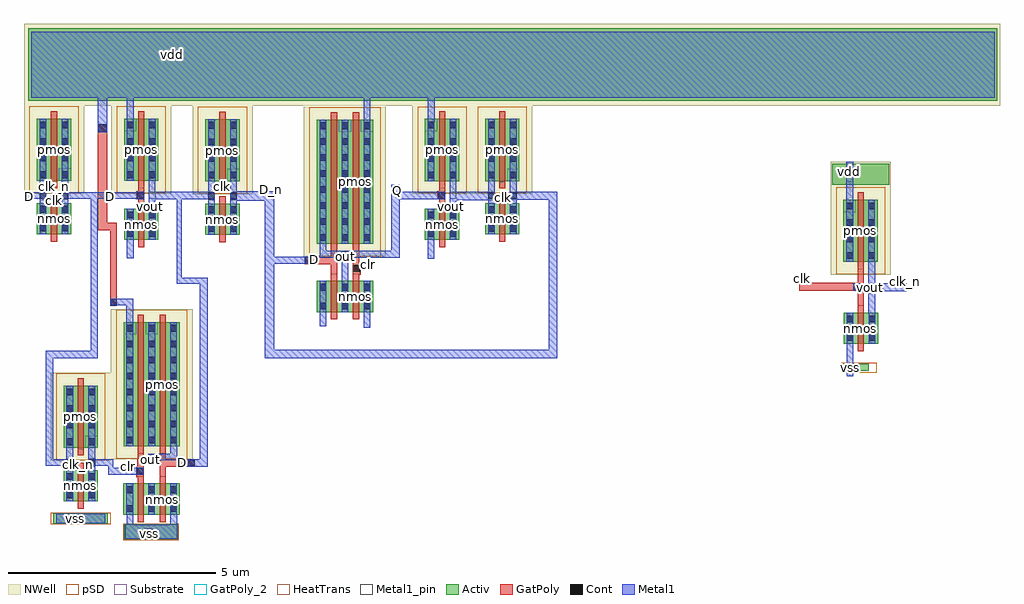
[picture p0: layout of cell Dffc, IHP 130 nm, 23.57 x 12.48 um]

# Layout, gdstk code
from math import pi, radians
import gdstk
lib = gdstk.Library(unit=1e-6, precision=1e-09)
def R(c, l, rs):  # rectangles x0, y0, x1, y1
    for r in rs: c.add(gdstk.rectangle(r[:2], r[2:], *l))
def A(c, l, x, y, w, h, nx, ny, dx, dy):  # array of equal rectangles
    R(c, l, [(x+i*dx, y+j*dy, x+i*dx+w, y+j*dy+h) for i in range(nx) for j in range(ny)])
def P(c, l, *ps):  # polygons
    for p in ps: c.add(gdstk.Polygon(p, *l))
Activ = (1, 0)
GatPoly = (5, 0)
GatPoly_2 = (5, 2)
Cont = (6, 0)
Metal1 = (8, 0)
Metal1_pin = (8, 2)
pSD = (14, 0)
NWell = (31, 0)
Substrate = (40, 0)
HeatTrans = (51, 0)

pmos_1_1 = lib.new_cell('pmos$1$1')

nmos_1_1 = lib.new_cell('nmos$1$1')

nmos_1_3 = lib.new_cell('nmos$1$3')

pmos_1_3 = lib.new_cell('pmos$1$3')

nmos_1_3_1 = lib.new_cell('nmos$1$3$1')

pmos_1_3_1 = lib.new_cell('pmos$1$3$1')

nmos_1_3_1_1 = lib.new_cell('nmos$1$3$1$1')

pmos_1_3_1_1 = lib.new_cell('pmos$1$3$1$1')

nmos_3_1_1 = lib.new_cell('nmos$3$1$1')

pmos_3_1_1 = lib.new_cell('pmos$3$1$1')

nmos_3_1_1_1 = lib.new_cell('nmos$3$1$1$1')

pmos_3_1_1_1 = lib.new_cell('pmos$3$1$1$1')

pmos_3 = lib.new_cell('pmos$3')

nmos_3 = lib.new_cell('nmos$3')

pmos_3_1 = lib.new_cell('pmos$3$1')

nmos_3_1 = lib.new_cell('nmos$3$1')

nmos_1_1_1 = lib.new_cell('nmos$1$1$1')

pmos_1_1_1 = lib.new_cell('pmos$1$1$1')

nmos_1_1_3 = lib.new_cell('nmos$1$1$3')

pmos_1_1_3 = lib.new_cell('pmos$1$1$3')

pmos_1_1_4 = lib.new_cell('pmos$1$1$4')

nmos_1_1_4 = lib.new_cell('nmos$1$1$4')

pmos_1_3_2 = lib.new_cell('pmos$1$3$2')

nmos_1_3_1_2 = lib.new_cell('nmos$1$3$1$2')

pmos_1_3_1_2 = lib.new_cell('pmos$1$3$1$2')

nmos_1_3_1_1_1 = lib.new_cell('nmos$1$3$1$1$1')

pmos_1_3_1_1_1 = lib.new_cell('pmos$1$3$1$1$1')

pmos_3_2 = lib.new_cell('pmos$3$2')

nmos_3_2 = lib.new_cell('nmos$3$2')

pmos_3_1_2 = lib.new_cell('pmos$3$1$2')

nmos_3_1_2 = lib.new_cell('nmos$3$1$2')

nmos_1_1_1_1 = lib.new_cell('nmos$1$1$1$1')

pmos_1_1_1_1 = lib.new_cell('pmos$1$1$1$1')

nmos_1_1_3_1 = lib.new_cell('nmos$1$1$3$1')

pmos_1_1_3_1 = lib.new_cell('pmos$1$1$3$1')

nmos_3_1_1_1_1 = lib.new_cell('nmos$3$1$1$1$1')

pmos_3_1_1_1_1 = lib.new_cell('pmos$3$1$1$1$1')

nmos_1_3_2 = lib.new_cell('nmos$1$3$2')

nmos_3_1_1_2 = lib.new_cell('nmos$3$1$1$2')

pmos_3_1_1_2 = lib.new_cell('pmos$3$1$1$2')

dffc = lib.new_cell('Dffc')
R(dffc, Activ, [(-13.218,0.057,-11.933,0.422), (-14.934,0.438,-13.619,0.693), (-13.241,0.659,-12.411,1.409), (-12.711,0.659,-11.881,1.409), (-14.689,0.978,-14.389,1.278), (-14.689,0.978,-13.859,1.728), (-14.159,0.978,-13.859,1.278), (-13.241,1.109,-12.941,1.409), (-12.711,1.109,-12.411,1.409), (-12.711,1.109,-12.411,1.409), (-12.181,1.109,-11.881,1.409), (-14.689,2.268,-14.389,2.568), (-14.689,2.268,-13.859,3.768), (-14.159,2.268,-13.859,2.568), (-13.239,2.309,-12.409,5.309), (-12.709,2.309,-11.879,5.309), (4.118,4.131,4.753,4.301), (4.153,4.786,4.983,5.536), (-13.239,5.009,-12.939,5.309), (-12.709,5.009,-12.409,5.309), (-12.709,5.009,-12.409,5.309), (-12.179,5.009,-11.879,5.309), (4.153,5.236,4.453,5.536), (4.683,5.236,4.983,5.536), (-8.571,5.55,-7.741,6.3), (-8.041,5.55,-7.211,6.3), (-8.571,6,-8.271,6.3), (-8.041,6,-7.741,6.3), (-8.041,6,-7.741,6.3), (-7.511,6,-7.211,6.3), (4.148,6.761,4.978,8.261), (-8.573,7.2,-7.743,10.2), (-8.043,7.2,-7.213,10.2), (-5.96,7.294,-5.13,8.044), (-13.228,7.296,-12.398,8.046), (-11.264,7.42,-10.964,7.72), (-11.264,7.42,-10.434,8.17), (-10.734,7.42,-10.434,7.72), (-4.507,7.424,-4.207,7.724), (-4.507,7.424,-3.677,8.174), (-3.977,7.424,-3.677,7.724), (-15.332,7.433,-15.032,7.733), (-15.332,7.433,-14.502,8.183), (-14.802,7.433,-14.502,7.733), (-5.96,7.744,-5.66,8.044), (-5.43,7.744,-5.13,8.044), (-13.228,7.746,-12.928,8.046), (-12.698,7.746,-12.398,8.046), (4.148,7.961,4.448,8.261), (4.678,7.961,4.978,8.261), (3.873,8.626,5.258,9.131), (-11.264,8.71,-10.964,9.01), (-11.264,8.71,-10.434,10.21), (-10.734,8.71,-10.434,9.01), (-5.96,8.714,-5.13,10.214), (-4.507,8.714,-4.207,9.014), (-4.507,8.714,-3.677,10.214), (-3.977,8.714,-3.677,9.014), (-13.228,8.716,-12.398,10.216), (-15.334,8.717,-15.034,9.017), (-15.334,8.717,-14.504,10.217), (-14.804,8.717,-14.504,9.017), (-8.573,9.9,-8.273,10.2), (-8.043,9.9,-7.743,10.2), (-8.043,9.9,-7.743,10.2), (-7.513,9.9,-7.213,10.2), (-5.96,9.914,-5.66,10.214), (-5.43,9.914,-5.13,10.214), (-13.228,9.916,-12.928,10.216), (-12.698,9.916,-12.398,10.216), (-15.537,10.655,7.86,12.401)])
R(dffc, GatPoly, [(-12.901,0.479,-12.751,1.589), (-12.371,0.479,-12.221,1.589), (-14.349,0.798,-14.199,1.908), (-14.349,2.088,-14.199,3.948), (-14.349,2.088,-14.199,3.948), (-12.899,2.129,-12.749,5.489), (-12.899,2.129,-12.749,5.489), (-12.369,2.129,-12.219,5.489), (-12.369,2.129,-12.219,5.489), (4.493,4.606,4.643,5.716), (-8.231,5.37,-8.081,6.48), (-7.701,5.37,-7.551,6.48), (4.488,6.581,4.638,8.441), (4.488,6.581,4.638,8.441), (-8.233,7.02,-8.083,10.38), (-8.233,7.02,-8.083,10.38), (-7.703,7.02,-7.553,10.38), (-7.703,7.02,-7.553,10.38), (-5.62,7.114,-5.47,8.165), (-12.888,7.116,-12.738,8.167), (-10.924,7.24,-10.774,8.35), (-4.167,7.244,-4.017,8.354), (-14.992,7.253,-14.842,8.363), (-10.924,8.53,-10.774,10.39), (-10.924,8.53,-10.774,10.39), (-5.62,8.534,-5.47,10.394), (-5.62,8.534,-5.47,10.394), (-4.167,8.534,-4.017,10.394), (-4.167,8.534,-4.017,10.394), (-12.888,8.536,-12.738,10.396), (-12.888,8.536,-12.738,10.396), (-14.994,8.537,-14.844,10.397), (-14.994,8.537,-14.844,10.397)])
P(dffc, GatPoly, [(4.488,5.691),(4.488,6.068),(3.074,6.068),(3.074,6.258),(4.488,6.258),(4.488,6.581),(4.638,6.581),(4.638,5.691)],
  [(-12.888,8.13),(-12.888,8.273),(-12.934,8.273),(-12.934,8.464),(-12.888,8.464),(-12.888,8.536),(-12.738,8.536),(-12.738,8.13)],
  [(-8.232,6.468),(-8.232,6.7),(-8.869,6.7),(-8.869,6.89),(-8.233,6.89),(-8.233,7.02),(-8.083,7.02),(-8.083,6.718),(-8.082,6.718),(-8.082,6.468)],
  [(-5.62,8.128),(-5.62,8.271),(-5.666,8.271),(-5.666,8.462),(-5.62,8.462),(-5.62,8.534),(-5.47,8.534),(-5.47,8.128)],
  [(-12.37,1.577),(-12.37,1.827),(-12.369,1.827),(-12.369,2.129),(-12.219,2.129),(-12.219,1.999),(-11.515,1.999),(-11.515,1.809),(-12.22,1.809),(-12.22,1.577)],
  [(-13.565,5.707),(-13.565,7.524),(-13.864,7.524),(-13.864,10.09),(-13.634,10.09),(-13.634,7.701),(-13.405,7.701),(-13.405,5.707)],
  [(-7.702,6.455),(-7.702,6.475),(-7.703,6.475),(-7.703,7.02),(-7.553,7.02),(-7.553,6.89),(-7.548,6.89),(-7.548,6.703),(-7.513,6.703),(-7.513,6.455)],
  [(-12.939,1.564),(-12.939,1.812),(-12.904,1.812),(-12.904,1.999),(-12.899,1.999),(-12.899,2.129),(-12.749,2.129),(-12.749,1.584),(-12.75,1.584),(-12.75,1.564)])
R(dffc, GatPoly_2, [(-12.901,0.479,-12.751,1.589), (-12.371,0.479,-12.221,1.589), (-14.349,0.798,-14.199,1.908), (-12.934,1.584,-12.753,1.807), (-14.349,1.758,-14.199,1.903), (-11.685,1.828,-11.525,1.988), (-14.349,2.088,-14.199,2.253), (4.493,4.606,4.643,5.716), (-8.231,5.37,-8.081,6.48), (-7.701,5.37,-7.551,6.48), (-7.699,6.475,-7.518,6.698), (-8.865,6.719,-8.705,6.879), (-5.62,7.114,-5.47,8.165), (-12.888,7.116,-12.738,8.167), (-10.924,7.24,-10.774,8.35), (-4.167,7.244,-4.017,8.354), (-14.992,7.253,-14.842,8.363), (-10.924,8.2,-10.774,8.345), (-4.167,8.204,-4.017,8.349), (-14.994,8.207,-14.844,8.352), (-10.924,8.53,-10.774,8.695), (-4.167,8.534,-4.017,8.699), (-14.994,8.537,-14.844,8.702)])
A(dffc, Cont, -14.619, 2.338, 0.16, 0.16, 1, 4, 0, 0.4)
A(dffc, Cont, -14.089, 2.338, 0.16, 0.16, 1, 4, 0, 0.4)
A(dffc, Cont, -13.169, 2.769, 0.16, 0.16, 1, 7, 0, 0.385)
A(dffc, Cont, -12.109, 2.769, 0.16, 0.16, 1, 7, 0, 0.385)
A(dffc, Cont, 4.218, 6.831, 0.16, 0.16, 1, 4, 0, 0.4)
A(dffc, Cont, 4.748, 6.831, 0.16, 0.16, 1, 4, 0, 0.4)
A(dffc, Cont, -8.503, 7.66, 0.16, 0.16, 1, 7, 0, 0.385)
A(dffc, Cont, -7.443, 7.66, 0.16, 0.16, 1, 7, 0, 0.385)
A(dffc, Cont, -11.194, 8.78, 0.16, 0.16, 1, 4, 0, 0.4)
A(dffc, Cont, -10.664, 8.78, 0.16, 0.16, 1, 4, 0, 0.4)
A(dffc, Cont, -5.89, 8.784, 0.16, 0.16, 1, 4, 0, 0.4)
A(dffc, Cont, -5.36, 8.784, 0.16, 0.16, 1, 4, 0, 0.4)
A(dffc, Cont, -4.437, 8.784, 0.16, 0.16, 1, 4, 0, 0.4)
A(dffc, Cont, -3.907, 8.784, 0.16, 0.16, 1, 4, 0, 0.4)
A(dffc, Cont, -13.158, 8.786, 0.16, 0.16, 1, 4, 0, 0.4)
A(dffc, Cont, -12.628, 8.786, 0.16, 0.16, 1, 4, 0, 0.4)
A(dffc, Cont, -15.264, 8.787, 0.16, 0.16, 1, 4, 0, 0.4)
A(dffc, Cont, -14.734, 8.787, 0.16, 0.16, 1, 4, 0, 0.4)
R(dffc, Cont, [(-12.733,0.117,-12.523,0.322), (-14.489,0.483,-14.324,0.643), (-13.171,0.729,-13.011,0.889), (-12.641,0.729,-12.481,0.889), (-12.641,0.729,-12.481,0.889), (-12.111,0.729,-11.951,0.889), (-14.619,1.048,-14.459,1.208), (-14.089,1.048,-13.929,1.208), (-13.171,1.179,-13.011,1.339), (-12.641,1.179,-12.481,1.339), (-12.641,1.179,-12.481,1.339), (-12.111,1.179,-11.951,1.339), (-14.619,1.498,-14.459,1.658), (-14.089,1.498,-13.929,1.658), (-12.925,1.627,-12.765,1.787), (-11.684,1.829,-11.524,1.989), (-14.619,1.838,-14.459,1.998), (-14.089,1.838,-13.929,1.998), (-12.639,1.969,-12.479,2.129), (-13.169,2.379,-13.009,2.539), (-12.639,2.379,-12.479,2.539), (-12.639,2.379,-12.479,2.539), (-12.109,2.379,-11.949,2.539), (-12.639,2.769,-12.479,2.929), (-12.639,2.769,-12.479,2.929), (-12.639,3.154,-12.479,3.314), (-12.639,3.154,-12.479,3.314), (-12.639,3.539,-12.479,3.699), (-12.639,3.539,-12.479,3.699), (-12.639,3.924,-12.479,4.084), (-12.639,3.924,-12.479,4.084), (4.228,4.131,4.388,4.291), (-12.639,4.309,-12.479,4.469), (-12.639,4.309,-12.479,4.469), (-12.639,4.694,-12.479,4.854), (-12.639,4.694,-12.479,4.854), (4.223,4.856,4.383,5.016), (4.753,4.856,4.913,5.016), (-12.639,5.079,-12.479,5.239), (-12.639,5.079,-12.479,5.239), (4.223,5.306,4.383,5.466), (4.753,5.306,4.913,5.466), (-8.501,5.62,-8.341,5.78), (-7.971,5.62,-7.811,5.78), (-7.971,5.62,-7.811,5.78), (-7.441,5.62,-7.281,5.78), (-13.565,5.707,-13.405,5.872), (-8.501,6.07,-8.341,6.23), (-7.971,6.07,-7.811,6.23), (-7.971,6.07,-7.811,6.23), (-7.441,6.07,-7.281,6.23), (4.388,6.076,4.548,6.236), (-7.687,6.518,-7.527,6.678), (-8.864,6.718,-8.704,6.878), (-7.973,6.86,-7.813,7.02), (-8.503,7.27,-8.343,7.43), (-7.973,7.27,-7.813,7.43), (-7.973,7.27,-7.813,7.43), (-7.443,7.27,-7.283,7.43), (-5.89,7.364,-5.73,7.524), (-5.36,7.364,-5.2,7.524), (-13.158,7.366,-12.998,7.526), (-12.628,7.366,-12.468,7.526), (-11.194,7.49,-11.034,7.65), (-10.664,7.49,-10.504,7.65), (-4.437,7.494,-4.277,7.654), (-3.907,7.494,-3.747,7.654), (-15.262,7.503,-15.102,7.663), (-14.732,7.503,-14.572,7.663), (-7.973,7.66,-7.813,7.82), (-7.973,7.66,-7.813,7.82), (-5.89,7.814,-5.73,7.974), (-5.36,7.814,-5.2,7.974), (-13.158,7.816,-12.998,7.976), (-12.628,7.816,-12.468,7.976), (-11.194,7.94,-11.034,8.1), (-10.664,7.94,-10.504,8.1), (-4.437,7.944,-4.277,8.104), (-3.907,7.944,-3.747,8.104), (-15.262,7.953,-15.102,8.113), (-14.732,7.953,-14.572,8.113), (-7.973,8.045,-7.813,8.205), (-7.973,8.045,-7.813,8.205), (-11.194,8.28,-11.034,8.44), (-10.664,8.28,-10.504,8.44), (-4.437,8.284,-4.277,8.444), (-3.907,8.284,-3.747,8.444), (-15.264,8.287,-15.104,8.447), (-14.734,8.287,-14.574,8.447), (-5.641,8.287,-5.481,8.447), (-12.909,8.289,-12.749,8.449), (-7.973,8.43,-7.813,8.59), (-7.973,8.43,-7.813,8.59), (4.218,8.806,4.378,8.966), (-7.973,8.815,-7.813,8.975), (-7.973,8.815,-7.813,8.975), (-7.973,9.2,-7.813,9.36), (-7.973,9.2,-7.813,9.36), (-7.973,9.585,-7.813,9.745), (-7.973,9.585,-7.813,9.745), (-13.864,9.896,-13.634,10.09), (-7.973,9.97,-7.813,10.13), (-7.973,9.97,-7.813,10.13), (-12.133,11.696,-11.973,11.856)])
R(dffc, Metal1, [(-14.869,0.453,-13.679,0.673), (-13.171,0.659,-13.011,1.409), (-12.641,0.659,-12.481,1.409), (-12.641,0.659,-12.481,1.409), (-12.111,0.659,-11.951,1.409), (-14.089,0.978,-13.929,1.728), (-14.089,2.268,-13.929,3.768), (-14.089,2.268,-13.929,3.768), (-12.639,2.309,-12.479,5.309), (-12.639,2.309,-12.479,5.309), (-12.639,2.309,-12.479,5.309), (-12.639,2.309,-12.479,5.309), (4.223,3.996,4.383,4.786), (4.223,4.786,4.383,5.536), (4.753,4.786,4.913,5.536), (-7.441,5.169,-7.281,6.3), (-8.501,5.208,-8.341,6.3), (4.383,6.071,4.553,6.241), (4.218,6.761,4.378,8.261), (4.218,6.761,4.378,8.261), (4.748,6.761,4.908,8.261), (4.748,6.761,4.908,8.261), (-5.89,6.843,-5.73,7.294), (-13.158,6.845,-12.998,7.296), (-7.973,7.2,-7.813,10.2), (-7.973,7.2,-7.813,10.2), (-7.973,7.2,-7.813,10.2), (-7.973,7.2,-7.813,10.2), (-5.89,7.294,-5.73,8.044), (-13.158,7.296,-12.998,8.046), (-12.628,7.296,-12.468,8.046), (-11.194,7.42,-11.034,8.17), (-10.664,7.42,-10.504,8.17), (-4.437,7.424,-4.277,8.174), (-3.907,7.424,-3.747,8.174), (-15.262,7.433,-15.102,8.183), (-14.732,7.433,-14.572,8.183), (4.218,8.261,4.378,9.176), (-11.194,8.71,-11.034,10.21), (-11.194,8.71,-11.034,10.21), (-10.664,8.71,-10.504,10.21), (-10.664,8.71,-10.504,10.21), (-5.89,8.714,-5.73,10.214), (-5.89,8.714,-5.73,10.214), (-4.437,8.714,-4.277,10.214), (-4.437,8.714,-4.277,10.214), (-3.907,8.714,-3.747,10.214), (-3.907,8.714,-3.747,10.214), (-13.158,8.716,-12.998,10.216), (-13.158,8.716,-12.998,10.216), (-12.628,8.716,-12.468,10.216), (-12.628,8.716,-12.468,10.216), (-15.264,8.717,-15.104,10.217), (-15.264,8.717,-15.104,10.217), (-14.734,8.717,-14.574,10.217), (-14.734,8.717,-14.574,10.217)])
P(dffc, Metal1, [(4.748,5.511),(4.748,6.761),(4.913,6.761),(4.913,6.251),(5.674,6.251),(5.674,6.049),(4.913,6.049),(4.913,5.511)],
  [(-15.264,8.123),(-15.264,8.287),(-15.589,8.287),(-15.589,8.446),(-15.264,8.446),(-15.264,8.805),(-15.102,8.805),(-15.102,8.123)],
  [(-7.443,7.2),(-7.443,10.73),(-12.998,10.73),(-12.998,10.216),(-13.158,10.216),(-13.158,10.73),(-13.634,10.73),(-13.634,9.896),(-13.864,9.896),(-13.864,10.73),(-15.469,10.73),(-15.469,12.323),(7.8,12.323),(7.8,10.73),(-5.729,10.73),(-5.729,10.151),(-5.889,10.151),(-5.889,10.73),(-7.283,10.73),(-7.283,7.2)],
  [(-14.619,0.978),(-14.619,1.835),(-15.117,1.835),(-15.117,1.999),(-15.117,4.433),(-15.117,4.614),(-14.029,4.614),(-14.029,8.286),(-14.572,8.286),(-14.572,8.016),(-14.734,8.016),(-14.734,8.762),(-14.572,8.762),(-14.572,8.448),(-12.923,8.448),(-12.923,8.456),(-12.744,8.456),(-12.744,8.277),(-12.923,8.277),(-12.923,8.286),(-13.864,8.286),(-13.864,4.433),(-14.942,4.433),(-14.942,1.999),(-14.619,1.999),(-14.619,3.768),(-14.459,3.768),(-14.459,0.978)],
  [(-9.824,4.43),(-9.824,8.243),(-10.504,8.243),(-10.504,8.107),(-10.664,8.107),(-10.664,8.724),(-10.504,8.724),(-10.504,8.468),(-9.606,8.468),(-9.606,6.883),(-8.699,6.883),(-8.699,6.714),(-9.606,6.714),(-9.606,4.635),(-2.969,4.635),(-2.969,8.259),(-3.747,8.259),(-3.747,8.075),(-3.907,8.075),(-3.907,8.825),(-3.747,8.825),(-3.747,8.45),(-2.771,8.45),(-2.771,5.092),(-2.771,4.635),(-2.771,4.43)],
  [(-11.692,1.81),(-11.692,1.999),(-11.397,1.999),(-11.397,6.237),(-11.958,6.237),(-11.958,8.276),(-12.469,8.276),(-12.469,7.961),(-12.629,7.961),(-12.629,8.794),(-12.469,8.794),(-12.469,8.461),(-11.194,8.461),(-11.194,8.738),(-11.034,8.738),(-11.034,8.139),(-11.194,8.139),(-11.194,8.276),(-11.831,8.276),(-11.831,6.378),(-11.21,6.378),(-11.21,1.81)],
  [(-7.971,5.55),(-7.971,6.2),(-7.973,6.2),(-7.973,6.86),(-8.503,6.86),(-8.503,10.2),(-8.343,10.2),(-8.343,7.026),(-6.771,7.026),(-6.771,8.624),(-6.57,8.624),(-6.57,8.456),(-5.475,8.456),(-5.475,8.278),(-6.57,8.278),(-6.57,7.026),(-6.57,6.86),(-7.811,6.86),(-7.811,5.55)],
  [(-5.36,7.294),(-5.36,10.214),(-5.2,10.214),(-5.2,8.453),(-4.437,8.453),(-4.437,8.737),(-4.277,8.737),(-4.277,8.05),(-4.437,8.05),(-4.437,8.249),(-5.2,8.249),(-5.2,7.294)],
  [(-12.639,1.969),(-12.639,2.129),(-12.109,2.129),(-12.109,5.309),(-11.949,5.309),(-11.949,2.309),(-11.946,2.309),(-11.946,1.969)],
  [(-13.17,2.309),(-13.17,5.708),(-13.565,5.708),(-13.565,5.872),(-13.01,5.872),(-13.01,2.309)],
  [(-13.607,1.618),(-13.607,1.839),(-13.929,1.839),(-13.929,1.713),(-14.089,1.713),(-14.089,2.283),(-13.929,2.283),(-13.929,1.998),(-13.484,1.998),(-13.484,1.788),(-12.764,1.788),(-12.764,1.618)],
  [(-13.198,0.072),(-13.198,0.407),(-13.168,0.407),(-13.168,0.672),(-13.008,0.672),(-13.008,0.407),(-12.108,0.407),(-12.108,0.672),(-11.948,0.672),(-11.948,0.072)],
  [(-13.158,7.296),(-13.158,7.296),(-12.998,7.296),(-12.998,7.296)],
  [(4.223,4.786),(4.223,4.786),(4.383,4.786),(4.383,4.786)],
  [(-5.89,7.294),(-5.89,7.294),(-5.73,7.294),(-5.73,7.294)])
R(dffc, Metal1_pin, [(-12.733,0.117,-12.523,0.322), (-14.489,0.483,-14.324,0.643), (-13.171,0.659,-13.011,1.409), (-12.641,0.659,-12.481,1.409), (-12.641,0.659,-12.481,1.409), (-12.111,0.659,-11.951,1.409), (-14.619,0.978,-14.459,1.728), (-14.089,0.978,-13.929,1.728), (-14.619,1.803,-14.459,2.013), (-14.089,1.813,-13.929,2.013), (-12.639,1.969,-12.479,2.129), (4.223,4.126,4.383,4.301), (4.223,4.786,4.383,5.536), (4.753,4.786,4.913,5.536), (-8.501,5.55,-8.341,6.3), (-7.971,5.55,-7.811,6.3), (-7.971,5.55,-7.811,6.3), (-7.441,5.55,-7.281,6.3), (4.748,5.996,4.913,6.251), (-7.973,6.86,-7.813,7.02), (-5.89,7.294,-5.73,8.044), (-5.36,7.294,-5.2,8.044), (-13.158,7.296,-12.998,8.046), (-12.628,7.296,-12.468,8.046), (-11.194,7.42,-11.034,8.17), (-10.664,7.42,-10.504,8.17), (-4.437,7.424,-4.277,8.174), (-3.907,7.424,-3.747,8.174), (-15.262,7.433,-15.102,8.183), (-14.732,7.433,-14.572,8.183), (-11.194,8.245,-11.034,8.455), (-4.437,8.249,-4.277,8.459), (-15.264,8.252,-15.104,8.462), (-10.664,8.255,-10.504,8.455), (-3.907,8.259,-3.747,8.459), (-14.734,8.262,-14.574,8.462), (-5.359,8.282,-5.199,8.453), (-12.627,8.284,-12.467,8.455), (4.218,8.691,4.378,9.096), (-12.149,11.682,-11.96,11.864)])
R(dffc, pSD, [(-13.243,0.037,-11.908,0.442), (-14.999,0.423,-13.549,0.703), (-14.869,1.968,-13.679,4.068), (-13.419,2.009,-12.229,5.609), (-12.889,2.009,-11.699,5.609), (4.093,4.081,4.953,4.326), (3.968,6.461,5.158,8.561), (-8.753,6.9,-7.563,10.5), (-8.223,6.9,-7.033,10.5), (-11.444,8.41,-10.254,10.51), (-6.14,8.414,-4.95,10.514), (-4.687,8.414,-3.497,10.514), (-13.408,8.416,-12.218,10.516), (-15.514,8.417,-14.324,10.517)])
R(dffc, NWell, [(-14.999,1.958,-13.549,4.078), (-13.549,1.999,-12.099,5.619), (-13.019,1.999,-11.569,5.619), (3.838,6.451,5.288,8.571), (-8.883,6.89,-7.433,10.51), (-8.353,6.89,-6.903,10.51), (-11.574,8.4,-10.124,10.52), (-6.27,8.404,-4.82,10.524), (-4.817,8.404,-3.367,10.524), (-13.538,8.406,-12.088,10.526), (-15.644,8.407,-14.194,10.527), (3.838,8.571,5.288,9.181), (-15.644,10.528,7.928,12.514)])
R(dffc, Substrate, [(-14.159,2.268,-13.859,2.568), (-13.239,5.009,-12.939,5.309), (-12.709,5.009,-12.409,5.309), (4.148,7.961,4.448,8.261), (-10.734,8.71,-10.434,9.01), (-3.977,8.714,-3.677,9.014), (-14.804,8.717,-14.504,9.017), (-8.043,9.9,-7.743,10.2), (-7.513,9.9,-7.213,10.2), (-5.96,9.914,-5.66,10.214), (-13.228,9.916,-12.928,10.216)])
R(dffc, HeatTrans, [(-12.901,0.479,-12.751,1.589), (-12.371,0.479,-12.221,1.589), (-14.349,0.798,-14.199,1.908), (-14.349,2.088,-14.199,3.948), (-12.899,2.129,-12.749,5.489), (-12.369,2.129,-12.219,5.489), (4.493,4.606,4.643,5.716), (-8.231,5.37,-8.081,6.48), (-7.701,5.37,-7.551,6.48), (4.488,6.581,4.638,8.441), (-8.233,7.02,-8.083,10.38), (-7.703,7.02,-7.553,10.38), (-5.62,7.114,-5.47,8.165), (-12.888,7.116,-12.738,8.167), (-10.924,7.24,-10.774,8.35), (-4.167,7.244,-4.017,8.354), (-14.992,7.253,-14.842,8.363), (-10.924,8.53,-10.774,10.39), (-5.62,8.534,-5.47,10.394), (-4.167,8.534,-4.017,10.394), (-12.888,8.536,-12.738,10.396), (-14.994,8.537,-14.844,10.397)])
dffc.add(gdstk.Reference(pmos_1_1, (-2.821,1.304), rotation=pi))
dffc.add(gdstk.Reference(nmos_1_1, (-2.821,-2.376), rotation=pi))
dffc.add(gdstk.Reference(pmos_1_1, (-3.351,1.304), rotation=pi))
dffc.add(gdstk.Reference(nmos_1_3, (-3.889,4.557), rotation=pi))
dffc.add(gdstk.Reference(pmos_1_3, (-3.894,7.282), rotation=pi))
dffc.add(gdstk.Reference(nmos_1_3_1, (4.626,4.726), rotation=pi))
dffc.add(gdstk.Reference(pmos_1_3_1, (4.621,7.451), rotation=pi))
dffc.add(gdstk.Reference(nmos_1_3_1_1, (-12.111,-1.561), rotation=pi))
dffc.add(gdstk.Reference(pmos_1_3_1_1, (-12.116,1.164), rotation=pi))
dffc.add(gdstk.Reference(nmos_3_1_1, (1.334,17.519)))
dffc.add(gdstk.Reference(pmos_3_1_1, (1.334,18.809)))
dffc.add(gdstk.Reference(nmos_3_1_1_1, (-7.646,4.282)))
dffc.add(gdstk.Reference(pmos_3_1_1_1, (-7.646,5.572)))
dffc.add(gdstk.Reference(pmos_3, (-1.103,5.555)))
dffc.add(gdstk.Reference(nmos_3, (-1.103,4.265)))
dffc.add(gdstk.Reference(nmos_1_1, (-3.351,-2.376), rotation=pi))
dffc.add(gdstk.Reference(pmos_3_1, (1.169,13.163)))
dffc.add(gdstk.Reference(nmos_3_1, (1.169,11.873)))
dffc.add(gdstk.Reference(nmos_1_1_1, (0.714,4.402), x_reflection=True))
dffc.add(gdstk.Reference(pmos_1_1_1, (0.714,8.082), x_reflection=True))
dffc.add(gdstk.Reference(nmos_1_1_3, (1.998,4.913), x_reflection=True))
dffc.add(gdstk.Reference(pmos_1_1_3, (1.998,8.593), x_reflection=True))
dffc.add(gdstk.Reference(nmos_1_1_3, (1.468,4.913), x_reflection=True))
dffc.add(gdstk.Reference(pmos_1_1_3, (1.468,8.593), x_reflection=True))
dffc.add(gdstk.Reference(pmos_1_1_4, (65.752,41.214), rotation=pi))
dffc.add(gdstk.Reference(nmos_1_1_4, (65.752,37.534), rotation=pi))
dffc.add(gdstk.Reference(pmos_1_1_4, (65.222,41.214), rotation=pi))
dffc.add(gdstk.Reference(pmos_1_3_2, (64.684,47.192), rotation=pi))
dffc.add(gdstk.Reference(nmos_1_3_1_2, (73.199,44.636), rotation=pi))
dffc.add(gdstk.Reference(pmos_1_3_1_2, (73.194,47.361), rotation=pi))
dffc.add(gdstk.Reference(nmos_1_3_1_1_1, (56.462,38.349), rotation=pi))
dffc.add(gdstk.Reference(pmos_1_3_1_1_1, (56.457,41.074), rotation=pi))
dffc.add(gdstk.Reference(pmos_3_2, (67.47,45.465)))
dffc.add(gdstk.Reference(nmos_3_2, (67.47,44.175)))
dffc.add(gdstk.Reference(nmos_1_1_4, (65.222,37.534), rotation=pi))
dffc.add(gdstk.Reference(pmos_3_1_2, (69.742,53.073)))
dffc.add(gdstk.Reference(nmos_3_1_2, (69.742,51.783)))
dffc.add(gdstk.Reference(nmos_1_1_1_1, (69.287,44.312), x_reflection=True))
dffc.add(gdstk.Reference(pmos_1_1_1_1, (69.287,47.992), x_reflection=True))
dffc.add(gdstk.Reference(nmos_1_1_3_1, (70.571,44.823), x_reflection=True))
dffc.add(gdstk.Reference(pmos_1_1_3_1, (70.571,48.503), x_reflection=True))
dffc.add(gdstk.Reference(nmos_1_1_3_1, (70.041,44.823), x_reflection=True))
dffc.add(gdstk.Reference(pmos_1_1_3_1, (70.041,48.503), x_reflection=True))
dffc.add(gdstk.Reference(nmos_3_1_1_1_1, (60.924,44.198)))
dffc.add(gdstk.Reference(pmos_3_1_1_1_1, (60.922,45.482)))
dffc.add(gdstk.Reference(nmos_1_3_2, (64.684,44.467), rotation=pi))
dffc.add(gdstk.Reference(nmos_3_1_1_2, (69.907,57.429)))
dffc.add(gdstk.Reference(pmos_3_1_1_2, (69.907,58.719)))
dffc.add(gdstk.Label('pmos', (-12.813,9.466), layer=63, texttype=0))
dffc.add(gdstk.Label('pmos', (4.563,7.511), layer=63, texttype=0))
dffc.add(gdstk.Label('pmos', (-10.849,9.46), layer=63, texttype=0))
dffc.add(gdstk.Label('pmos', (-14.919,9.467), layer=63, texttype=0))
dffc.add(gdstk.Label('nmos', (4.568,5.161), layer=63, texttype=0))
dffc.add(gdstk.Label('clk', (-10.858,8.574), layer=63, texttype=0))
dffc.add(gdstk.Label('clk_n', (-10.896,8.339), layer=63, texttype=0))
dffc.add(gdstk.Label('clk', (-4.067,8.327), layer=63, texttype=0))
dffc.add(gdstk.Label('clk_n', (-4.087,8.57), layer=63, texttype=0))
dffc.add(gdstk.Label('clk_n', (-14.319,1.866), layer=63, texttype=0))
dffc.add(gdstk.Label('clk', (-14.308,2.142), layer=63, texttype=0))
dffc.add(gdstk.Label('nmos', (-12.813,7.671), layer=63, texttype=0))
dffc.add(gdstk.Label('clk', (3.148,6.355), layer=63, texttype=0))
dffc.add(gdstk.Label('clk_n', (5.634,6.285), layer=63, texttype=0))
dffc.add(gdstk.Label('D_n', (-9.664,8.5), layer=63, texttype=0))
dffc.add(gdstk.Label('clk_n', (-14.916,8.59), layer=63, texttype=0))
dffc.add(gdstk.Label('clk', (-14.906,8.232), layer=63, texttype=0))
dffc.add(gdstk.Label('D', (-13.563,8.33), layer=63, texttype=0))
dffc.add(gdstk.Label('D', (-15.506,8.332), layer=63, texttype=0))
dffc.add(gdstk.Label('clr', (-7.321,6.706), layer=63, texttype=0))
dffc.add(gdstk.Label('nmos', (-7.626,5.925), layer=63, texttype=0))
dffc.add(gdstk.Label('nmos', (-8.156,5.925), layer=63, texttype=0))
dffc.add(gdstk.Label('clr', (-13.131,1.815), layer=63, texttype=0))
dffc.add(gdstk.Label('pmos', (-7.628,8.7), layer=63, texttype=0))
dffc.add(gdstk.Label('pmos', (-8.158,8.7), layer=63, texttype=0))
dffc.add(gdstk.Label('Q', (-6.621,8.493), layer=63, texttype=0))
dffc.add(gdstk.Label('nmos', (-5.545,7.669), layer=63, texttype=0))
dffc.add(gdstk.Label('pmos', (-5.545,9.464), layer=63, texttype=0))
dffc.add(gdstk.Label('pmos', (-12.294,3.809), layer=63, texttype=0))
dffc.add(gdstk.Label('pmos', (-12.824,3.809), layer=63, texttype=0))
dffc.add(gdstk.Label('pmos', (-14.274,3.018), layer=63, texttype=0))
dffc.add(gdstk.Label('nmos', (-14.274,1.353), layer=63, texttype=0))
dffc.add(gdstk.Label('nmos', (-12.296,1.034), layer=63, texttype=0))
dffc.add(gdstk.Label('nmos', (-12.826,1.034), layer=63, texttype=0))
dffc.add(gdstk.Label('nmos', (-10.849,7.795), layer=63, texttype=0))
dffc.add(gdstk.Label('nmos', (-14.917,7.808), layer=63, texttype=0))
dffc.add(gdstk.Label('pmos', (-4.092,9.464), layer=63, texttype=0))
dffc.add(gdstk.Label('nmos', (-4.092,7.799), layer=63, texttype=0))
dffc.add(gdstk.Label('pmos', (-14.919,9.467), layer=51, texttype=0))
dffc.add(gdstk.Label('nmos', (-10.849,7.795), layer=51, texttype=0))
dffc.add(gdstk.Label('nmos', (-12.813,7.671), layer=51, texttype=0))
dffc.add(gdstk.Label('pmos', (-4.092,9.464), layer=51, texttype=0))
dffc.add(gdstk.Label('nmos', (-4.092,7.799), layer=51, texttype=0))
dffc.add(gdstk.Label('pmos', (-12.294,3.809), layer=51, texttype=0))
dffc.add(gdstk.Label('pmos', (-12.824,3.809), layer=51, texttype=0))
dffc.add(gdstk.Label('pmos', (-14.274,3.018), layer=51, texttype=0))
dffc.add(gdstk.Label('nmos', (-12.296,1.034), layer=51, texttype=0))
dffc.add(gdstk.Label('nmos', (-7.626,5.925), layer=51, texttype=0))
dffc.add(gdstk.Label('nmos', (-8.156,5.925), layer=51, texttype=0))
dffc.add(gdstk.Label('pmos', (-7.628,8.7), layer=51, texttype=0))
dffc.add(gdstk.Label('pmos', (-8.158,8.7), layer=51, texttype=0))
dffc.add(gdstk.Label('pmos', (-5.545,9.464), layer=51, texttype=0))
dffc.add(gdstk.Label('nmos', (-5.545,7.669), layer=51, texttype=0))
dffc.add(gdstk.Label('nmos', (-12.826,1.034), layer=51, texttype=0))
dffc.add(gdstk.Label('nmos', (-14.274,1.353), layer=51, texttype=0))
dffc.add(gdstk.Label('nmos', (4.568,5.161), layer=51, texttype=0))
dffc.add(gdstk.Label('nmos', (-14.917,7.808), layer=51, texttype=0))
dffc.add(gdstk.Label('pmos', (-12.813,9.466), layer=51, texttype=0))
dffc.add(gdstk.Label('pmos', (4.563,7.511), layer=51, texttype=0))
dffc.add(gdstk.Label('pmos', (-10.849,9.46), layer=51, texttype=0))
dffc.add(gdstk.Label('vout', (4.798,6.131), layer=8, texttype=2))
dffc.add(gdstk.Label('vss', (4.328,4.206), layer=8, texttype=2))
dffc.add(gdstk.Label('vdd', (4.303,8.941), layer=8, texttype=2))
dffc.add(gdstk.Label('vin', (-11.124,8.335), layer=8, texttype=2))
dffc.add(gdstk.Label('vout', (-10.594,8.35), layer=8, texttype=2))
dffc.add(gdstk.Label('vdd', (-12.06,11.776), layer=8, texttype=2))
dffc.add(gdstk.Label('vin', (-15.194,8.342), layer=8, texttype=2))
dffc.add(gdstk.Label('vout', (-14.664,8.357), layer=8, texttype=2))
dffc.add(gdstk.Label('vout', (-12.585,8.097), layer=8, texttype=2))
dffc.add(gdstk.Label('out', (-7.873,6.89), layer=8, texttype=2))
dffc.add(gdstk.Label('vout', (-5.317,8.095), layer=8, texttype=2))
dffc.add(gdstk.Label('vin', (-4.367,8.339), layer=8, texttype=2))
dffc.add(gdstk.Label('vout', (-3.837,8.354), layer=8, texttype=2))
dffc.add(gdstk.Label('vss', (-12.613,0.192), layer=8, texttype=2))
dffc.add(gdstk.Label('out', (-12.579,1.999), layer=8, texttype=2))
dffc.add(gdstk.Label('vout', (-14.019,1.908), layer=8, texttype=2))
dffc.add(gdstk.Label('vin', (-14.549,1.893), layer=8, texttype=2))
dffc.add(gdstk.Label('vss', (-14.399,0.563), layer=8, texttype=2))
dffc.add(gdstk.Label('vin', (4.463,6.146), layer=5, texttype=2))
dffc.add(gdstk.Label('Entrada_P', (-10.859,8.625), layer=5, texttype=2))
dffc.add(gdstk.Label('Entrada_N', (-10.824,8.275), layer=5, texttype=2))
dffc.add(gdstk.Label('Entrada_P', (-14.929,8.632), layer=5, texttype=2))
dffc.add(gdstk.Label('Entrada_N', (-14.894,8.282), layer=5, texttype=2))
dffc.add(gdstk.Label('vin', (-12.892,8.257), layer=5, texttype=2))
dffc.add(gdstk.Label('clr', (-7.61,6.681), layer=5, texttype=2))
dffc.add(gdstk.Label('D', (-8.633,6.815), layer=5, texttype=2))
dffc.add(gdstk.Label('vin', (-5.624,8.255), layer=5, texttype=2))
dffc.add(gdstk.Label('Entrada_P', (-4.102,8.629), layer=5, texttype=2))
dffc.add(gdstk.Label('Entrada_N', (-4.067,8.279), layer=5, texttype=2))
dffc.add(gdstk.Label('clr', (-12.842,1.79), layer=5, texttype=2))
dffc.add(gdstk.Label('D', (-11.819,1.924), layer=5, texttype=2))
dffc.add(gdstk.Label('Entrada_N', (-14.249,1.833), layer=5, texttype=2))
dffc.add(gdstk.Label('Entrada_P', (-14.284,2.183), layer=5, texttype=2))

lib.write_gds('Dffc.gds')
